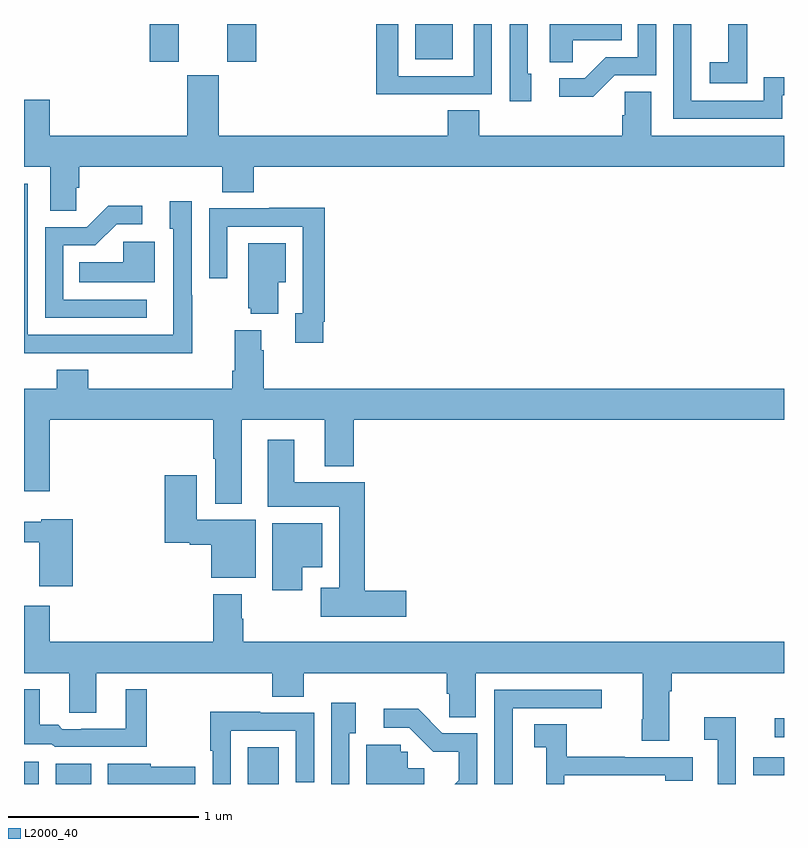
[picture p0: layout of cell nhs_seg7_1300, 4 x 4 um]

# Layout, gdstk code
import gdstk
lib = gdstk.Library(unit=1e-6, precision=1e-09)
def R(c, l, rs):  # rectangles x0, y0, x1, y1
    for r in rs: c.add(gdstk.rectangle(r[:2], r[2:], *l))
def P(c, l, *ps):  # polygons
    for p in ps: c.add(gdstk.Polygon(p, *l))
L2000_40 = (2000, 40)

nhs_seg7_1300 = lib.new_cell('nhs_seg7_1300')
R(nhs_seg7_1300, L2000_40, [(201,1032,201.078,1032.117), (201.167,1032,201.355,1032.106), (202.178,1032,202.342,1032.194), (204.951,1032.246,205,1032.345), (201.662,1035.801,201.814,1036), (202.07,1035.801,202.223,1036), (203.06,1035.815,203.257,1036)])
P(nhs_seg7_1300, L2000_40, [(204.108,1035.729),(204.327,1035.729),(204.327,1036),(204.231,1036),(204.231,1035.825),(204.062,1035.825),(203.951,1035.714),(203.817,1035.714),(203.817,1035.617),(203.995,1035.617)],
  [(203.889,1035.914),(204.146,1035.914),(204.146,1036),(203.768,1036),(203.768,1035.799),(203.889,1035.799)],
  [(204.991,1035.624),(205,1035.624),(205,1035.72),(204.894,1035.72),(204.894,1035.597),(204.513,1035.597),(204.513,1036),(204.417,1036),(204.417,1035.501),(204.991,1035.501)],
  [(203.671,1035.738),(203.652,1035.738),(203.652,1036),(203.556,1036),(203.556,1035.594),(203.671,1035.594)],
  [(204.807,1035.895),(204.806,1035.895),(204.806,1036),(204.707,1036),(204.707,1035.799),(204.609,1035.799),(204.609,1035.689),(204.807,1035.689)],
  [(203.147,1035.63),(203.463,1035.63),(203.463,1036),(203.367,1036),(203.367,1035.726),(202.971,1035.726),(202.971,1036),(202.855,1036),(202.855,1035.629),(203.147,1035.629)],
  [(201.276,1035.139),(201.29,1035.139),(201.29,1035.248),(202.043,1035.248),(202.043,1035.115),(202.208,1035.115),(202.208,1035.248),(205,1035.248),(205,1035.412),(204.301,1035.412),(204.301,1035.644),(204.162,1035.644),(204.162,1035.521),(204.149,1035.521),(204.149,1035.412),(203.396,1035.412),(203.396,1035.545),(203.231,1035.545),(203.231,1035.412),(202.024,1035.412),(202.024,1035.729),(201.86,1035.729),(201.86,1035.412),(201.136,1035.412),(201.136,1035.601),(201,1035.601),(201,1035.248),(201.137,1035.248),(201.137,1035.016),(201.276,1035.016)],
  [(201.885,1034.573),(201.882,1034.573),(201.882,1035.067),(201.767,1035.067),(201.767,1034.922),(201.786,1034.922),(201.786,1034.591),(201.785,1034.591),(201.785,1034.364),(201.021,1034.364),(201.021,1035.159),(201,1035.159),(201,1034.268),(201.421,1034.268),(201.421,1034.267),(201.885,1034.267)],
  [(201.646,1034.55),(201.207,1034.55),(201.207,1034.835),(201.376,1034.835),(201.487,1034.946),(201.622,1034.946),(201.622,1035.044),(201.443,1035.044),(201.33,1034.931),(201.111,1034.931),(201.111,1034.454),(201.646,1034.454)],
  [(202.576,1034.434),(202.583,1034.434),(202.583,1035.032),(202.291,1035.032),(202.291,1035.03),(201.975,1035.03),(201.975,1034.661),(202.071,1034.661),(202.071,1034.934),(202.467,1034.934),(202.467,1034.478),(202.427,1034.478),(202.427,1034.322),(202.576,1034.322)],
  [(201.688,1034.854),(201.523,1034.854),(201.523,1034.746),(201.292,1034.746),(201.292,1034.642),(201.688,1034.642)],
  [(202.339,1034.642),(202.378,1034.642),(202.378,1034.845),(202.181,1034.845),(202.181,1034.505),(202.193,1034.505),(202.193,1034.474),(202.339,1034.474)],
  [(202.249,1034.282),(202.249,1034.389),(202.109,1034.389),(202.109,1034.176),(202.097,1034.176),(202.097,1034.08),(201.338,1034.08),(201.338,1034.179),(201.173,1034.179),(201.173,1034.08),(201,1034.08),(201,1033.542),(201.136,1033.542),(201.136,1033.916),(201.995,1033.916),(201.995,1033.711),(202.007,1033.711),(202.007,1033.475),(202.147,1033.475),(202.147,1033.916),(202.583,1033.916),(202.583,1033.673),(202.736,1033.673),(202.736,1033.916),(205,1033.916),(205,1034.08),(202.262,1034.08),(202.262,1034.282)],
  [(203.011,1033.016),(202.793,1033.016),(202.793,1033.588),(202.423,1033.588),(202.423,1033.813),(202.283,1033.813),(202.283,1033.46),(202.658,1033.46),(202.658,1033.033),(202.563,1033.033),(202.563,1032.881),(203.011,1032.881)],
  [(202.219,1033.39),(201.91,1033.39),(201.91,1033.624),(201.74,1033.624),(201.74,1033.271),(201.873,1033.271),(201.873,1033.259),(201.986,1033.259),(201.986,1033.085),(202.219,1033.085)],
  [(201.257,1033.393),(201.09,1033.393),(201.09,1033.381),(201,1033.381),(201,1033.272),(201.079,1033.272),(201.079,1033.041),(201.257,1033.041)],
  [(202.465,1033.142),(202.57,1033.142),(202.57,1033.372),(202.307,1033.372),(202.307,1033.02),(202.465,1033.02)],
  [(204.397,1032.488),(204.41,1032.488),(204.41,1032.584),(205,1032.584),(205,1032.748),(202.155,1032.748),(202.155,1032.869),(202.147,1032.869),(202.147,1033),(201.995,1033),(201.995,1032.748),(201.136,1032.748),(201.136,1032.937),(201,1032.937),(201,1032.584),(201.239,1032.584),(201.239,1032.376),(201.379,1032.376),(201.379,1032.584),(202.307,1032.584),(202.307,1032.46),(202.472,1032.46),(202.472,1032.584),(203.225,1032.584),(203.225,1032.474),(203.239,1032.474),(203.239,1032.352),(203.377,1032.352),(203.377,1032.584),(204.257,1032.584),(204.257,1032.34),(204.25,1032.34),(204.25,1032.228),(204.397,1032.228)],
  [(201.646,1032.499),(201.536,1032.499),(201.536,1032.291),(201.301,1032.291),(201.301,1032.288),(201.201,1032.288),(201.179,1032.311),(201.082,1032.311),(201.082,1032.499),(201,1032.499),(201,1032.21),(201.147,1032.21),(201.162,1032.195),(201.646,1032.195)],
  [(203.572,1032.399),(204.04,1032.399),(204.04,1032.495),(203.475,1032.495),(203.475,1032),(203.572,1032)],
  [(202.713,1032.266),(202.747,1032.266),(202.747,1032.427),(202.617,1032.427),(202.617,1032),(202.713,1032)],
  [(203.385,1032.267),(203.202,1032.267),(203.074,1032.395),(202.893,1032.395),(202.893,1032.297),(203.028,1032.297),(203.155,1032.17),(203.288,1032.17),(203.288,1032.02),(203.268,1032),(203.385,1032)],
  [(202.089,1032.279),(202.431,1032.279),(202.431,1032.009),(202.527,1032.009),(202.527,1032.375),(202.243,1032.375),(202.243,1032.379),(201.981,1032.379),(201.981,1032.175),(201.993,1032.175),(201.993,1032),(202.089,1032)],
  [(204.747,1032.352),(204.579,1032.352),(204.579,1032.232),(204.65,1032.232),(204.65,1032),(204.747,1032)],
  [(203.844,1032.045),(204.375,1032.045),(204.375,1032.017),(204.52,1032.017),(204.52,1032.141),(204.161,1032.141),(204.161,1032.144),(203.857,1032.144),(203.857,1032.314),(203.685,1032.314),(203.685,1032.193),(203.748,1032.193),(203.748,1032),(203.844,1032)],
  [(203.107,1032.082),(203.019,1032.082),(203.019,1032.171),(202.983,1032.171),(202.983,1032.207),(202.802,1032.207),(202.802,1032),(203.107,1032)],
  [(205,1032.141),(204.837,1032.141),(204.837,1032.046),(204.949,1032.046),(204.949,1032.045),(205,1032.045)],
  [(201.901,1032.092),(201.666,1032.092),(201.666,1032.106),(201.44,1032.106),(201.44,1032),(201.901,1032)])

lib.write_gds('nhs_seg7_1300.gds')
